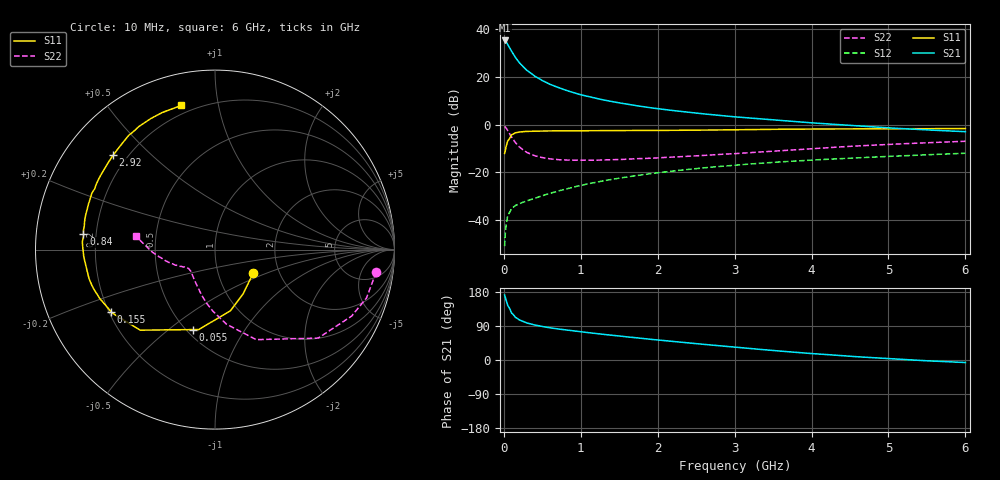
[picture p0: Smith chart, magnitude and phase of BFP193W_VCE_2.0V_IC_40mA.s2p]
! Infineon Technologies  Discrete & RF Semiconductors
! BFP193W
! VCE = 2.0 V,  IC =  40 mA
! Common Emitter S-Parameters:  Jan 2016
# GHz  S  MA  R  50
!  f  S11  S21  S12  S22
! GHz  MAG  ANG  MAG  ANG  MAG  ANG  MAG  ANG
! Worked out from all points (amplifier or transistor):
!   210 points, 10 MHz to 6 GHz, reference 50 ohm
!   highest |S21| = 35.1 dB at 10 MHz (marker M1)
!   |S21| within 3 dB of that: start of sweep to 74.34 MHz
!   unconditionally stable (mu >= 1): 608.5 MHz to 3.993 GHz; 4.056 GHz to 4.22 GHz
!   at 185 MHz: K = 0.52, MSG = 29.9 dB, |S12| = -33.3 dB
!   at 1.52 GHz: K = 1.14, MAG = 13.3 dB, |S12| = -22.3 dB
!   at 6 GHz: K = 0.94, MSG = 4.5 dB, |S12| = -12.0 dB
!   S11 on the Smith chart (normalised r, x): 10 MHz: 1.47, -0.41; 55 MHz: 0.54, -0.61; 155 MHz: 0.21, -0.26; 840 MHz: 0.15, +0.06; 2.92 GHz: 0.15, +0.38; 6 GHz: 0.16, +0.78
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0.01  0.2499 -31.6  56.79 171.3  0.0029 82.3  0.9072 -7.9
0.02  0.2925 -57.7  55.65 164.2  0.0056 71.2  0.886 -17.7
0.03  0.3518 -75.9  53.4 157.0  0.008 71.4  0.8469 -25.9
0.05  0.4546 -101.5  47.42 144.4  0.0122 61.5  0.7574 -40.6
0.055  0.4625 -105.5  45.87 142.9  0.0127 59.7  0.7321 -42.4
0.1  0.6125 -132.9  33.87 124.1  0.0175 48.7  0.5519 -65.4
0.15  0.6728 -148.3  25.07 112.6  0.0204 44.2  0.4208 -81.2
0.155  0.6745 -149.2  24.51 112.1  0.0206 44.1  0.4125 -82.1
0.2  0.6974 -157.0  19.58 105.9  0.0222 43.5  0.3433 -92.0
0.24  0.7091 -161.6  16.75 102.2  0.0236 44.0  0.3048 -98.3
0.3  0.7203 -167.0  13.49 97.7  0.0256 45.2  0.2613 -107.0
0.4  0.7252 -172.8  10.25 92.3  0.0288 48.6  0.224 -116.8
0.6  0.7364 179.6  6.911 84.9  0.0366 54.5  0.1924 -130.0
0.84  0.738 173.3  4.993 78.4  0.0465 58.7  0.1811 -137.8
1.02  0.7404 169.5  4.112 74.1  0.0545 60.1  0.1801 -142.0
1.4  0.7463 162.2  3.023 65.3  0.0714 61.2  0.1851 -146.8
2.02  0.7546 151.5  2.123 52.5  0.0992 59.3  0.2028 -151.4
2.92  0.7735 137.2  1.489 35.5  0.1386 53.6  0.2434 -160.1
3.1  0.7782 134.4  1.407 32.2  0.1461 52.3  0.2534 -162.1
4.1  0.8069 120.6  1.059 15.7  0.1849 44.7  0.3203 -173.7
5.1  0.8182 110.3  0.835 2.5  0.2198 37.8  0.3917 176.1
6  0.8247 103.2  0.71 -6.7  0.2518 32.1  0.4476 170.0
